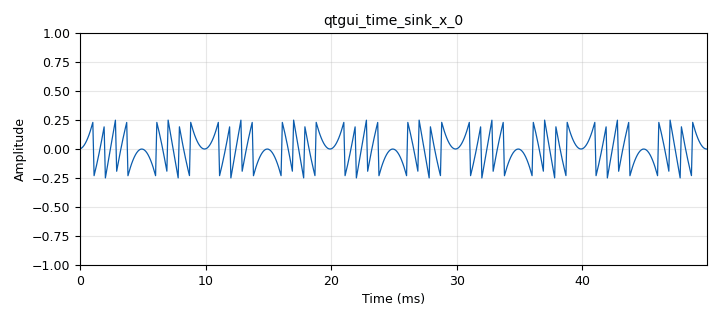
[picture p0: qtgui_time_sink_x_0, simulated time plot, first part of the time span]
options:
  parameters:
    author: Maxbarr007
    generate_options: qt_gui
    id: ej9ee
    output_language: python
    title: Not titled yet
  states: {}

blocks:
- name: samp_rate
  id: variable
  parameters:
    value: '10000'
  states: {}
- name: analog_sig_source_x_0
  id: analog_sig_source_x
  parameters:
    amp: '1'
    freq: '100'
    offset: '0'
    phase: '0'
    samp_rate: samp_rate
    type: float
    waveform: analog.GR_SIN_WAVE
  states: {}
- name: analog_sig_source_x_1
  id: analog_sig_source_x
  parameters:
    amp: '1'
    freq: '100'
    offset: '0'
    phase: '0'
    samp_rate: samp_rate
    type: float
    waveform: analog.GR_SIN_WAVE
  states: {}
- name: blocks_sub_xx_0
  id: blocks_sub_xx
  parameters:
    type: float
  states: {}
- name: blocks_throttle2_0
  id: blocks_throttle2
  parameters:
    samples_per_second: samp_rate
    type: float
  states: {}
- name: blocks_throttle2_1
  id: blocks_throttle2
  parameters:
    samples_per_second: samp_rate
    type: float
  states: {}
- name: channels_quantizer_0
  id: channels_quantizer
  parameters:
    bits: '2'
  states: {}
- name: qtgui_time_sink_x_0
  id: qtgui_time_sink_x
  parameters:
    size: '1024'
    srate: samp_rate
    type: float
  states: {}

connections:
- [analog_sig_source_x_0, '0', blocks_throttle2_1, '0']
- [analog_sig_source_x_1, '0', blocks_throttle2_0, '0']
- [blocks_sub_xx_0, '0', qtgui_time_sink_x_0, '0']
- [blocks_throttle2_0, '0', channels_quantizer_0, '0']
- [blocks_throttle2_1, '0', blocks_sub_xx_0, '0']
- [channels_quantizer_0, '0', blocks_sub_xx_0, '1']

metadata:
  file_format: 1
  grc_version: 3.10.12.0
